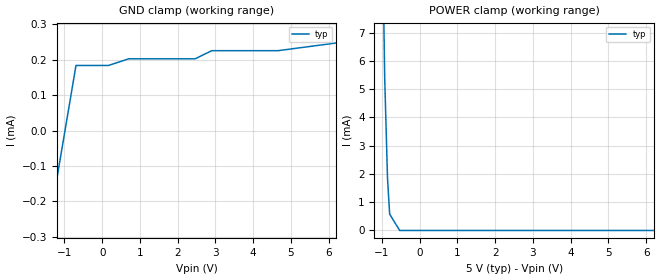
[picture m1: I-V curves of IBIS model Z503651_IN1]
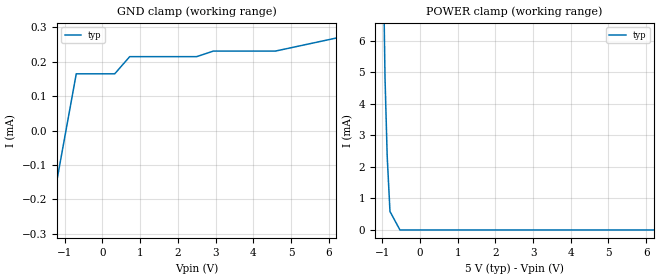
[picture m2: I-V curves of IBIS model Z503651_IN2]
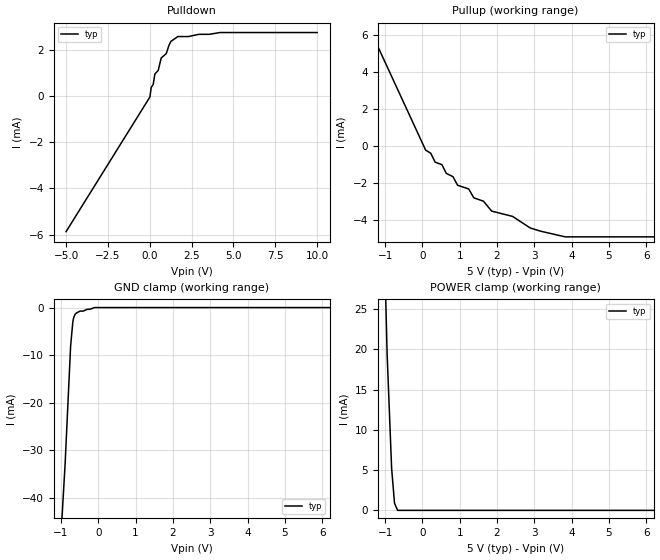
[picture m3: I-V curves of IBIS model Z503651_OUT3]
| YOU ARE ONLY AUTHORIZED TO USE THIS SOFTWARE
| ACCORDING TO LICENSOR'S LICENSE RESTRICTIONS.
[IBIS Ver] 3.1
[File Name] mc14530bl.ibs
[File Rev] 2.0
[Source] Measured and created by ICX Technology
[Date] Friday 7/14/00 9:07:56 AM
[Copyright]
| (C) COPYRIGHT 1993-2000
| MENTOR GRAPHICS CORPORATION
| ICX STANDARD LIBRARY, ICX PROJECT MODELING,
| ICX CUSTOM MODELING, ICX VENDOR MODEL
| ALL RIGHTS RESERVED.
| THE FOLLOWING ARE TRADEMARKS OR SERVICE MARKS OF
| MENTOR GRAPHICS CORPORATION:ICX (R), ICX STANDARD
| LIBRARY(R), ICX PROJECT MODELING(R), ICX CUSTOM
| MODELING(R), qualityIBIS(TM), MODELVIEWER(TM),
| AND MODELEDITOR(TM)
| ALL COPIES OF SOFTWARE, INCLUDING BUT NOT LIMITED TO
| ANY MODIFICATIONS, ENHANCEMENTS OR DERIVATIVE WORKS,
| MUST CONTAIN ALL MENTOR GRAPHICS CORPORATION'S
| NOTICES AND LEGENDS, INCLUDING THOSE EMBEDDED IN
| SOFTWARE AND THOSE AFFIXED TO SOFTWARE MEDIUM
| AND CONTAINER, AS RECEIVED FROM MENTOR GRAPHICS
| CORPORATION.
|  ZAP Model Builder 2.7
[Component] MC14530BL
[Manufacturer] OnSemiconductor
[Package]
| variable   typ   min   max
R_pkg  .212ohms NA NA
L_pkg  4.758nH NA NA
C_pkg  1.944pF NA NA
[Pin] signal_name  model_name  R_pin  L_pin C_pin
1 AA Z503651_IN1 .224 7.258n 2.683p
2 BA Z503651_IN1 .216 5.258n 2.19p
3 CA Z503651_IN1 .208 3.758n 1.697p
4 DA Z503651_IN1 .2 2.758n 1.204p
5 EA Z503651_IN1 .2 2.758n 1.204p
6 WA Z503651_IN2 .208 3.758n 1.697p
7 ZA Z503651_OUT3 .216 5.258n 2.19p
8 VSS POWER .224 7.258n 2.683p
9 AB Z503651_IN1 .224 7.258n 2.683p
10 BB Z503651_IN1 .216 5.258n 2.19p
11 CB Z503651_IN1 .208 3.758n 1.697p
12 DB Z503651_IN1 .2 2.758n 1.204p
13 EB Z503651_IN1 .2 2.758n 1.204p
14 WB Z503651_IN2 .208 3.758n 1.697p
15 ZB Z503651_OUT3 .216 5.258n 2.19p
16 VDD POWER .224 7.258n 2.683p
| Models and submodels in the file (3): Z503651_IN1 (Input), Z503651_IN2 (Input), Z503651_OUT3 (Output)
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| (C) COPYRIGHT 1993-2000
| MENTOR GRAPHICS CORPORATION
| ICX STANDARD LIBRARY, ICX PROJECT MODELING,
| ICX CUSTOM MODELING, ICX VENDOR MODEL
| ALL RIGHTS RESERVED.
| THE FOLLOWING ARE TRADEMARKS OR SERVICE MARKS OF
| MENTOR GRAPHICS CORPORATION:ICX (R), ICX STANDARD
| LIBRARY(R), ICX PROJECT MODELING(R), ICX CUSTOM
| MODELING(R), qualityIBIS(TM), MODELVIEWER(TM),
| AND MODELEDITOR(TM)
| ALL COPIES OF SOFTWARE, INCLUDING BUT NOT LIMITED TO
| ANY MODIFICATIONS, ENHANCEMENTS OR DERIVATIVE WORKS,
| MUST CONTAIN ALL MENTOR GRAPHICS CORPORATION'S
| NOTICES AND LEGENDS, INCLUDING THOSE EMBEDDED IN
| SOFTWARE AND THOSE AFFIXED TO SOFTWARE MEDIUM
| AND CONTAINER, AS RECEIVED FROM MENTOR GRAPHICS
| CORPORATION.
| Model Application Version 1.89 2/18/99.
[Model] Z503651_IN1
Model_type Input
Vinl = 1.500V
Vinh = 3.500V
C_comp 4.000pF NA NA
| variable typ   min   max
[Voltage Range] 5.000V NA NA
[GND Clamp Reference] 0.000V NA NA
[POWER Clamp Reference] 5.000V NA NA
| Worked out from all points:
|   POWER clamp passes 1 mA (typ) near -0.81 V on its own axis
[GND Clamp]
-5V       -2.535mA   NA         NA
-694.5mV  183.7uA    NA         NA
166.6mV   183.7uA    NA         NA
704.3mV   202.5uA    NA         NA
2.462V    202.5uA    NA         NA
2.902V    225.4uA    NA         NA
4.657V    225.4uA    NA         NA
10V       300.9uA    NA         NA
[POWER Clamp]
-5V       996.6mA    NA         NA
-1.221V   50.62mA    NA         NA
-1.055V   19.23mA    NA         NA
-1.002V   12.21mA    NA         NA
-928mV    5.443mA    NA         NA
-853mV    1.857mA    NA         NA
-796mV    580uA      NA         NA
-530.7mV  0A         NA         NA
10V       0A         NA         NA
| (C) COPYRIGHT 1993-2000
| MENTOR GRAPHICS CORPORATION
| ICX STANDARD LIBRARY, ICX PROJECT MODELING,
| ICX CUSTOM MODELING, ICX VENDOR MODEL
| ALL RIGHTS RESERVED.
| THE FOLLOWING ARE TRADEMARKS OR SERVICE MARKS OF
| MENTOR GRAPHICS CORPORATION:ICX (R), ICX STANDARD
| LIBRARY(R), ICX PROJECT MODELING(R), ICX CUSTOM
| MODELING(R), qualityIBIS(TM), MODELVIEWER(TM),
| AND MODELEDITOR(TM)
| ALL COPIES OF SOFTWARE, INCLUDING BUT NOT LIMITED TO
| ANY MODIFICATIONS, ENHANCEMENTS OR DERIVATIVE WORKS,
| MUST CONTAIN ALL MENTOR GRAPHICS CORPORATION'S
| NOTICES AND LEGENDS, INCLUDING THOSE EMBEDDED IN
| SOFTWARE AND THOSE AFFIXED TO SOFTWARE MEDIUM
| AND CONTAINER, AS RECEIVED FROM MENTOR GRAPHICS
| CORPORATION.
| Model Application Version 1.89 2/18/99.
[Model] Z503651_IN2
Model_type Input
Vinl = 1.500V
Vinh = 3.500V
C_comp 4.000pF NA NA
| variable typ   min   max
[Voltage Range] 5.000V NA NA
[GND Clamp Reference] 0.000V NA NA
[POWER Clamp Reference] 5.000V NA NA
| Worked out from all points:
|   POWER clamp passes 1 mA (typ) near -0.81 V on its own axis
[GND Clamp]
-5V       -2.439mA   NA         NA
-694.5mV  165.2uA    NA         NA
325.7mV   165.2uA    NA         NA
723mV     215.1uA    NA         NA
2.497V    215.1uA    NA         NA
2.941V    231.3uA    NA         NA
4.586V    231.3uA    NA         NA
10V       358.7uA    NA         NA
[POWER Clamp]
-5V       648.2mA    NA         NA
-1.182V   31.69mA    NA         NA
-1.04V    14.16mA    NA         NA
-927mV    4.854mA    NA         NA
-869mV    2.352mA    NA         NA
-795mV    586.9uA    NA         NA
-530mV    0A         NA         NA
10V       0A         NA         NA
| (C) COPYRIGHT 1993-2000
| MENTOR GRAPHICS CORPORATION
| ICX STANDARD LIBRARY, ICX PROJECT MODELING,
| ICX CUSTOM MODELING, ICX VENDOR MODEL
| ALL RIGHTS RESERVED.
| THE FOLLOWING ARE TRADEMARKS OR SERVICE MARKS OF
| MENTOR GRAPHICS CORPORATION:ICX (R), ICX STANDARD
| LIBRARY(R), ICX PROJECT MODELING(R), ICX CUSTOM
| MODELING(R), qualityIBIS(TM), MODELVIEWER(TM),
| AND MODELEDITOR(TM)
| ALL COPIES OF SOFTWARE, INCLUDING BUT NOT LIMITED TO
| ANY MODIFICATIONS, ENHANCEMENTS OR DERIVATIVE WORKS,
| MUST CONTAIN ALL MENTOR GRAPHICS CORPORATION'S
| NOTICES AND LEGENDS, INCLUDING THOSE EMBEDDED IN
| SOFTWARE AND THOSE AFFIXED TO SOFTWARE MEDIUM
| AND CONTAINER, AS RECEIVED FROM MENTOR GRAPHICS
| CORPORATION.
| Model Application Version 1.89 2/18/99.
[Model] Z503651_OUT3
Model_type Output
Vref=0.000V
Rref=500.0Mohms
Cref=50.00pF
Vmeas=2.500V
C_comp 8.000pF NA NA
| variable typ   min   max
[Voltage Range] 5.000V NA NA
[POWER Clamp Reference] 5.000V NA NA
[Pullup Reference] 5.000V NA NA
[Pulldown Reference] 0.000V NA NA
[GND Clamp Reference] 0.000V NA NA
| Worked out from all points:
|   slope of the pulldown table from 0 to 0.75 V, typ, clamps not added: 430 ohm
|   slope of the pullup table from 0 to 0.75 V, typ, clamps not added: 429 ohm
|   GND clamp passes 1 mA (typ) near -0.55 V on its own axis
|   POWER clamp passes 1 mA (typ) near -0.75 V on its own axis
[GND Clamp]
-5V       -592.2mA   NA         NA
-889mV    -32.82mA   NA         NA
-742.1mV  -8.109mA   NA         NA
-683.6mV  -3.072mA   NA         NA
-664.1mV  -2.239mA   NA         NA
-625mV    -1.441mA   NA         NA
-488.7mV  -736.9uA   NA         NA
-400.5mV  -736.9uA   NA         NA
-105mV    0A         NA         NA
10V       0A         NA         NA
[Pulldown]
-5V       -5.871mA   NA         NA
9.613mV   -37.63uA   NA         NA
87.13mV   373.7uA    NA         NA
207.4mV   510.4uA    NA         NA
306.2mV   957.8uA    NA         NA
505mV     1.113mA    NA         NA
683.6mV   1.652mA    NA         NA
986.3mV   1.842mA    NA         NA
1.263V    2.371mA    NA         NA
1.681V    2.581mA    NA         NA
4.195V    2.755mA    NA         NA
10V       2.755mA    NA         NA
[Pullup]
-5V       22.03mA    NA         NA
223mV     -405uA     NA         NA
343mV     -891.2uA   NA         NA
942mV     -2.136mA   NA         NA
1.24V     -2.338mA   NA         NA
1.378V    -2.819mA   NA         NA
1.637V    -3.001mA   NA         NA
1.855V    -3.536mA   NA         NA
2.416V    -3.823mA   NA         NA
2.891V    -4.452mA   NA         NA
3.828V    -4.931mA   NA         NA
10V       -4.931mA   NA         NA
[POWER Clamp]
-5V       768.8mA    NA         NA
-945mV    19.39mA    NA         NA
-825mV    5.245mA    NA         NA
-747mV    880.8uA    NA         NA
-664mV    0A         NA         NA
10V       0A         NA         NA
[Ramp]
| variable typ min max
dV/dt_r 2.500/19.90n NA NA
dV/dt_f 2.500/27.28n NA NA
R_load = 2.500kOhms
